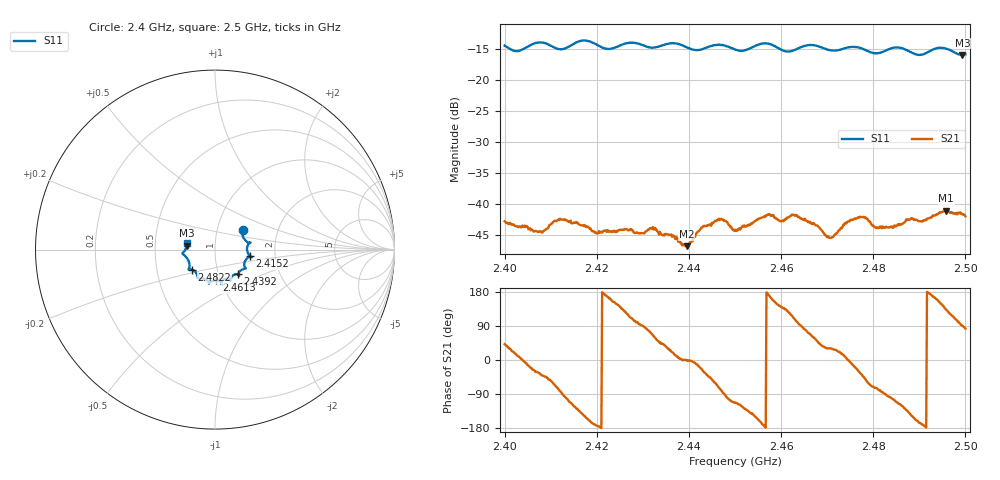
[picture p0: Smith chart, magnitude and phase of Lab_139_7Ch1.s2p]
# Hz S RI R 50
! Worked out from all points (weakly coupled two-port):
!   601 points, 2.4 GHz to 2.5 GHz, reference 50 ohm
!   highest |S21| = -41.08 dB at 2.4958 GHz (marker M1); lowest = -46.8 dB at 2.4395 GHz (marker M2)
!   lowest |S11| = -15.9 dB at 2.4993 GHz (marker M3), VSWR 1.38, Z = 36.3 + j1.61 ohm
!   |S11| at or under -10 dB: start of sweep to end of sweep
!   S12 and S22 are empty: the file has one direction only
!   S11 on the Smith chart (normalised r, x): 2.4 GHz: 1.33, +0.31; 2.4152 GHz: 1.48, -0.11; 2.4392 GHz: 1.23, -0.35; 2.4613 GHz: 0.96, -0.34; 2.4822 GHz: 0.76, -0.17; 2.5 GHz: 0.73, +0.05
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2.4e9  0.155 0.1113  0.0054 0.00482  0 0  0 0
2.402833e9  0.1594 0.0651  0.00646 0.0012  0 0  0 0
2.407667e9  0.1984 0.0399  0.00486 -0.00352  0 0  0 0
2.411833e9  0.1783 0.00888  0.00139 -0.00727  0 0  0 0
2.415167e9  0.1953 -0.0365  -0.00386 -0.00587  0 0  0 0
2.416667e9  0.2047 -0.0425  -0.00516 -0.00432  0 0  0 0
2.419833e9  0.1912 -0.0412  -0.00582 -0.000771  0 0  0 0
2.433333e9  0.132 -0.1324  0.0038 0.00453  0 0  0 0
2.439167e9  0.1269 -0.1378  0.00459 2.42e-05  0 0  0 0
2.4395e9  0.1241 -0.1372  0.00455 -9.01e-05  0 0  0 0
2.4465e9  0.086 -0.174  0.00227 -0.00725  0 0  0 0
2.45e9  0.0687 -0.1638  -0.00226 -0.00565  0 0  0 0
2.457167e9  0.0396 -0.194  -0.00817 0.000911  0 0  0 0
2.461333e9  0.00745 -0.1704  -0.00489 0.00604  0 0  0 0
2.466667e9  -0.0334 -0.1898  0.00304 0.00618  0 0  0 0
2.4705e9  -0.0477 -0.1688  0.00454 0.00272  0 0  0 0
2.477167e9  -0.0953 -0.1559  0.0065 -0.00445  0 0  0 0
2.482167e9  -0.1282 -0.1121  0.000395 -0.0064  0 0  0 0
2.483333e9  -0.1396 -0.1106  -0.000736 -0.00638  0 0  0 0
2.495833e9  -0.1793 -0.0185  -0.00596 0.00652  0 0  0 0
2.499333e9  -0.1587 0.0216  4.04e-05 0.00823  0 0  0 0
2.5e9  -0.1583 0.034  0.000992 0.00787  0 0  0 0
